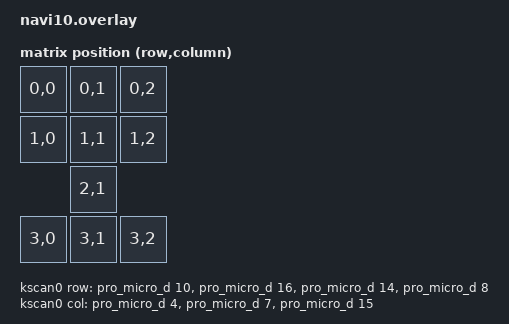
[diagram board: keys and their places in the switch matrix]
/*
 * Copyright (c) 2020 The ZMK Contributors
 *
 * SPDX-License-Identifier: MIT
 */

#include <dt-bindings/zmk/matrix_transform.h>

/ {
	kscan0: kscan {
		compatible = "zmk,kscan-gpio-matrix";
		label = "KSCAN";
		
		diode-direction = "col2row";

        row-gpios
			= <&pro_micro_d 10 (GPIO_ACTIVE_HIGH | GPIO_PULL_DOWN)>
			, <&pro_micro_d 16 (GPIO_ACTIVE_HIGH | GPIO_PULL_DOWN)>
			, <&pro_micro_d 14 (GPIO_ACTIVE_HIGH | GPIO_PULL_DOWN)>
			, <&pro_micro_d 8 (GPIO_ACTIVE_HIGH | GPIO_PULL_DOWN)>
			;

		col-gpios
			= <&pro_micro_d 4 GPIO_ACTIVE_HIGH>
			, <&pro_micro_d 7 GPIO_ACTIVE_HIGH>
			, <&pro_micro_d 15 GPIO_ACTIVE_HIGH>
			;
	};

	default_transform: keymap_transform_0 {
		compatible = "zmk,matrix-transform";
		rows = <4>;
        columns = <3>;

        map = <
RC(0,0) RC(0,1) RC(0,2)
RC(1,0) RC(1,1) RC(1,2)
        RC(2,1)
RC(3,0) RC(3,1) RC(3,2)
		>;
	};

	chosen {
		zmk,kscan = &kscan0;
		zmk,matrix_transform = &default_transform;
	};
};
